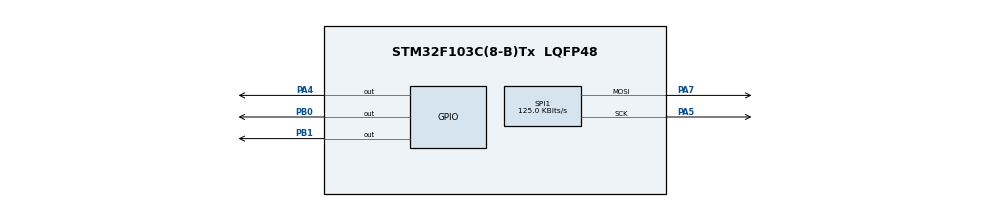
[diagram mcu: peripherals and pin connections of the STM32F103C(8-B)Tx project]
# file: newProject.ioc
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Mcu.Family=STM32F1
Mcu.Name=STM32F103C(8-B)Tx
Mcu.Package=LQFP48
NVIC.PriorityGroup=NVIC_PRIORITYGROUP_4
PA4.Signal=GPIO_Output
PA5.Mode=TX_Only_Simplex_Unidirect_Master
PA5.Signal=SPI1_SCK
PA7.Mode=TX_Only_Simplex_Unidirect_Master
PA7.Signal=SPI1_MOSI
PB0.Signal=GPIO_Output
PB1.Signal=GPIO_Output
ProjectManager.HeapSize=0x200
ProjectManager.StackSize=0x400
ProjectManager.TargetToolchain=STM32CubeIDE
RCC.APB1Freq_Value=8000000
RCC.APB2Freq_Value=8000000
SPI1.BaudRatePrescaler=SPI_BAUDRATEPRESCALER_64
SPI1.CalculateBaudRate=125.0 KBits/s
SPI1.Direction=SPI_DIRECTION_2LINES
SPI1.Mode=SPI_MODE_MASTER
SPI1.VirtualType=VM_MASTER
board=custom

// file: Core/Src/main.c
/* USER CODE BEGIN Header */
/**
  ******************************************************************************
  * @file           : main.c
  * @brief          : Main program body
  ******************************************************************************
  * @attention
  *
  * Copyright (c) 2023 STMicroelectronics.
  * All rights reserved.
  *
  * This software is licensed under terms that can be found in the LICENSE file
  * in the root directory of this software component.
  * If no LICENSE file comes with this software, it is provided AS-IS.
  *
  ******************************************************************************
  */
/* USER CODE END Header */
#include "main.h"

/* USER CODE BEGIN Includes */

#include <stdarg.h>
#include "ili9341_touch.h" // Touch commands

#include <string.h>

#include "ili9341.h"

#include "fonts.h"

#include "testimg.h"

#define DECODE_UTF8  // Test only, comment out to stop decoding
/* USER CODE END Includes */

SPI_HandleTypeDef hspi1;

void SystemClock_Config(void);
static void MX_GPIO_Init(void);
static void MX_SPI1_Init(void);

/* USER CODE BEGIN 0 */
void init() {
    ILI9341_Unselect();
    ILI9341_TouchUnselect();
    ILI9341_Init();
}

void loop() {
	ILI9341_DrawImage((ILI9341_WIDTH - 240)/2,(ILI9341_HEIGHT-240)/2,240,240,
	(const uint16_t*)test_img_240x240);
	HAL_Delay(3000);

    // Check font
	ILI9341_WriteString(0,    0, "This is", Font_16x26,   ILI9341_RED, ILI9341_WHITE);
	ILI9341_WriteString(0, 3*20,     "ALI", Font_16x26,   ILI9341_RED, ILI9341_WHITE);
	ILI9341_WriteString(0, 3*40,  "Badiee", Font_16x26, ILI9341_GREEN, ILI9341_WHITE);

    // Check border
    ILI9341_FillScreen(ILI9341_BLACK);

    for(int x = 0; x < ILI9341_WIDTH; x++) {
        ILI9341_DrawPixel(x, 0, ILI9341_RED);
        ILI9341_DrawPixel(x, ILI9341_HEIGHT-1, ILI9341_RED);
    }

    for(int y = 0; y < ILI9341_HEIGHT; y++) {
        ILI9341_DrawPixel(0, y, ILI9341_RED);
        ILI9341_DrawPixel(ILI9341_WIDTH-1, y, ILI9341_RED);
    }

    HAL_Delay(1000);

	ILI9341_FillScreen(ILI9341_BLACK);

    HAL_Delay(5000);
//
//    // Check colors
    ILI9341_FillScreen(ILI9341_WHITE);
    ILI9341_WriteString(0, 0, "WHITE", Font_11x18, ILI9341_BLACK, ILI9341_WHITE);
    HAL_Delay(500);

    ILI9341_FillScreen(ILI9341_BLUE);
    ILI9341_WriteString(0, 0, "BLUE", Font_11x18, ILI9341_BLACK, ILI9341_BLUE);
    HAL_Delay(500);

    ILI9341_FillScreen(ILI9341_RED);
    ILI9341_WriteString(0, 0, "RED", Font_11x18, ILI9341_BLACK, ILI9341_RED);
    HAL_Delay(500);

}
/* USER CODE END 0 */

int main(void)
{

  /* MCU Configuration--------------------------------------------------------*/

  /* Reset of all peripherals, Initializes the Flash interface and the Systick. */
  HAL_Init();

  /* Configure the system clock */
  SystemClock_Config();

  /* Initialize all configured peripherals */
  MX_GPIO_Init();
  MX_SPI1_Init();
  /* USER CODE BEGIN 2 */
  init();

  /* USER CODE END 2 */

  /* Infinite loop */
  while (1)
  {

    /* USER CODE BEGIN 3 */
	loop();
  }
  /* USER CODE END 3 */
}

void SystemClock_Config(void)
{
  RCC_OscInitTypeDef RCC_OscInitStruct = {0};
  RCC_ClkInitTypeDef RCC_ClkInitStruct = {0};

  /** Initializes the RCC Oscillators according to the specified parameters
  * in the RCC_OscInitTypeDef structure.
  */
  RCC_OscInitStruct.OscillatorType = RCC_OSCILLATORTYPE_HSI;
  RCC_OscInitStruct.HSIState = RCC_HSI_ON;
  RCC_OscInitStruct.HSICalibrationValue = RCC_HSICALIBRATION_DEFAULT;
  RCC_OscInitStruct.PLL.PLLState = RCC_PLL_NONE;
  if (HAL_RCC_OscConfig(&RCC_OscInitStruct) != HAL_OK)
  {
    Error_Handler();
  }

  /** Initializes the CPU, AHB and APB buses clocks
  */
  RCC_ClkInitStruct.ClockType = RCC_CLOCKTYPE_HCLK|RCC_CLOCKTYPE_SYSCLK
                              |RCC_CLOCKTYPE_PCLK1|RCC_CLOCKTYPE_PCLK2;
  RCC_ClkInitStruct.SYSCLKSource = RCC_SYSCLKSOURCE_HSI;
  RCC_ClkInitStruct.AHBCLKDivider = RCC_SYSCLK_DIV1;
  RCC_ClkInitStruct.APB1CLKDivider = RCC_HCLK_DIV1;
  RCC_ClkInitStruct.APB2CLKDivider = RCC_HCLK_DIV1;

  if (HAL_RCC_ClockConfig(&RCC_ClkInitStruct, FLASH_LATENCY_0) != HAL_OK)
  {
    Error_Handler();
  }
}

static void MX_SPI1_Init(void)
{

  /* SPI1 parameter configuration*/
  hspi1.Instance = SPI1;
  hspi1.Init.Mode = SPI_MODE_MASTER;
  hspi1.Init.Direction = SPI_DIRECTION_2LINES;
  hspi1.Init.DataSize = SPI_DATASIZE_8BIT;
  hspi1.Init.CLKPolarity = SPI_POLARITY_LOW;
  hspi1.Init.CLKPhase = SPI_PHASE_1EDGE;
  hspi1.Init.NSS = SPI_NSS_SOFT;
  hspi1.Init.BaudRatePrescaler = SPI_BAUDRATEPRESCALER_64;
  hspi1.Init.FirstBit = SPI_FIRSTBIT_MSB;
  hspi1.Init.TIMode = SPI_TIMODE_DISABLE;
  hspi1.Init.CRCCalculation = SPI_CRCCALCULATION_DISABLE;
  hspi1.Init.CRCPolynomial = 10;
  if (HAL_SPI_Init(&hspi1) != HAL_OK)
  {
    Error_Handler();
  }

}

static void MX_GPIO_Init(void)
{
  GPIO_InitTypeDef GPIO_InitStruct = {0};

  /* GPIO Ports Clock Enable */
  __HAL_RCC_GPIOA_CLK_ENABLE();
  __HAL_RCC_GPIOB_CLK_ENABLE();

  /*Configure GPIO pin Output Level */
  HAL_GPIO_WritePin(GPIOA, GPIO_PIN_4, GPIO_PIN_RESET);

  /*Configure GPIO pin Output Level */
  HAL_GPIO_WritePin(GPIOB, GPIO_PIN_0|GPIO_PIN_1, GPIO_PIN_RESET);

  /*Configure GPIO pin : PA4 */
  GPIO_InitStruct.Pin = GPIO_PIN_4;
  GPIO_InitStruct.Mode = GPIO_MODE_OUTPUT_PP;
  GPIO_InitStruct.Pull = GPIO_NOPULL;
  GPIO_InitStruct.Speed = GPIO_SPEED_FREQ_LOW;
  HAL_GPIO_Init(GPIOA, &GPIO_InitStruct);

  /*Configure GPIO pins : PB0 PB1 */
  GPIO_InitStruct.Pin = GPIO_PIN_0|GPIO_PIN_1;
  GPIO_InitStruct.Mode = GPIO_MODE_OUTPUT_PP;
  GPIO_InitStruct.Pull = GPIO_NOPULL;
  GPIO_InitStruct.Speed = GPIO_SPEED_FREQ_LOW;
  HAL_GPIO_Init(GPIOB, &GPIO_InitStruct);

}

void Error_Handler(void)
{
  __disable_irq();
  while (1)
  {
  }
}
